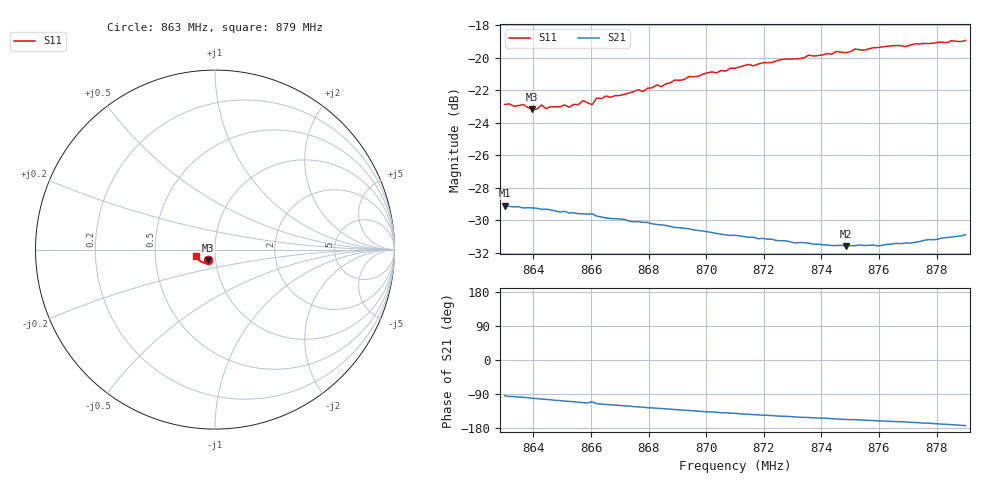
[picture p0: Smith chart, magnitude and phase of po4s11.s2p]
# HZ S RI R 50
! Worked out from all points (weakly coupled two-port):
!   101 points, 863 MHz to 879 MHz, reference 50 ohm
!   highest |S21| = -29.11 dB at 863 MHz (marker M1); lowest = -31.6 dB at 874.84 MHz (marker M2)
!   lowest |S11| = -23.2 dB at 863.96 MHz (marker M3), VSWR 1.15, Z = 46.1 - j5.38 ohm
!   |S11| at or under -10 dB: start of sweep to end of sweep
!   S12 and S22 are empty: the file has one direction only
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8.63e8  -0.0412 -0.0588  -0.00268 -0.035  0 0  0 0
8.6364e8  -0.04 -0.0597  -0.00513 -0.0341  0 0  0 0
8.6396e8  -0.0379 -0.0581  -0.00657 -0.0339  0 0  0 0
8.6428e8  -0.0377 -0.0609  -0.00774 -0.0333  0 0  0 0
8.6444e8  -0.036 -0.0597  -0.00824 -0.0332  0 0  0 0
8.6508e8  -0.0351 -0.0624  -0.0106 -0.032  0 0  0 0
8.6524e8  -0.0358 -0.0607  -0.0109 -0.0314  0 0  0 0
8.6572e8  -0.0351 -0.0649  -0.0127 -0.0306  0 0  0 0
8.6604e8  -0.0322 -0.0641  -0.0115 -0.031  0 0  0 0
8.662e8  -0.0373 -0.0653  -0.014 -0.0294  0 0  0 0
8.67e8  -0.0369 -0.067  -0.0159 -0.0276  0 0  0 0
8.6764e8  -0.0393 -0.0694  -0.0174 -0.026  0 0  0 0
8.678e8  -0.0384 -0.0687  -0.0176 -0.0257  0 0  0 0
8.6828e8  -0.0413 -0.0715  -0.0186 -0.0244  0 0  0 0
8.6844e8  -0.0408 -0.0706  -0.0189 -0.0241  0 0  0 0
8.6892e8  -0.0446 -0.0729  -0.0196 -0.0227  0 0  0 0
8.71e8  -0.0556 -0.0743  -0.022 -0.018  0 0  0 0
8.7372e8  -0.0739 -0.0692  -0.0237 -0.0122  0 0  0 0
8.7452e8  -0.0812 -0.0659  -0.0241 -0.0109  0 0  0 0
8.7484e8  -0.0814 -0.0642  -0.0242 -0.0104  0 0  0 0
8.7644e8  -0.0936 -0.0556  -0.0254 -0.0082  0 0  0 0
8.79e8  -0.1075 -0.0348  -0.0283 -0.00348  0 0  0 0
